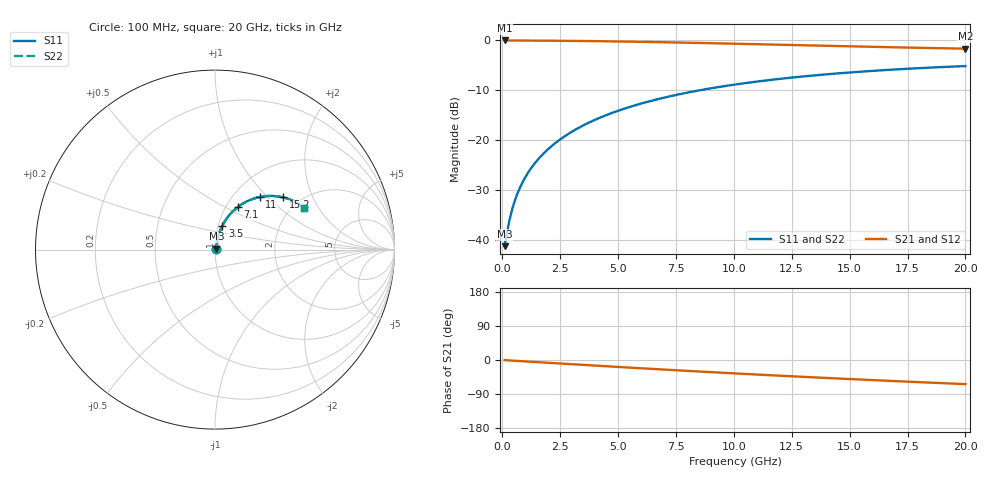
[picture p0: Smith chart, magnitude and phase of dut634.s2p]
! Touchstone file exported from HFSS 2026.1.0
!  File:  C:/ffzhzh/LocalFiles/Ansys_Project_Files/temp_train_TMRDL_634_1783009233_53980.aedt
!  Generated:  12:22:11 AM Jul  3, 2026
!  Design:  TMRDL
!  Project:  temp_train_TMRDL_634_1783009233_53980
! Variables:
!  h_bsmrdl = 2um
!  h_ox = 20um
!  h_rdl = 5um
!  h_sub = 80um
!  h_tmrdl = 2.39um
!  h_tsv = 80um
!  h_via = 3um
!  l_bsmrdl = 300um
!  l_sub = 1388.41um
!  l_tmrdl = 988.41um
!  m_sub = 200um
!  pitch = 49.51um
!  r_tsv = 6um
!  s_tmrdl = 10um
!  w_bsmrdl = 18um
!  w_sub = 500um
!  w_tmrdl = 20.23um
!  x_tsv_center1 = 998.525um
!  x_tsv_center2 = 1316.525um
!  x_tsv_center3 = 2325.165um
!  x_tsv_center4 = 2643.165um
!  x_tsv_center5 = 3651.805um
!  x_tsv_center6 = 3969.805um
# GHz S MA R 50.000000
! Terminal data exported
! Port[1] = TM_RDL1_1_T1
! Port[2] = TM_RDL1_1_T2
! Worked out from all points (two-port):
!   200 points, 100 MHz to 20 GHz, reference 50 ohm
!   highest |S21| = -0.06 dB at 100 MHz (marker M1); lowest = -1.7 dB at 20 GHz (marker M2)
!   |S21| within 3 dB of the highest: start of sweep to end of sweep
!   lowest |S11| = -41.3 dB at 100 MHz (marker M3), VSWR 1.02, Z = 50.7 + j0.444 ohm
!   |S11| at or under -10 dB: start of sweep to 8.591 GHz
!   |S22| runs from -41.3 to -5.2 dB; largest |S21 - S12| = 1.4e-14
!   S11 on the Smith chart (normalised r, x): 100 MHz: 1.01, +0.01; 3.5 GHz: 1.05, +0.28; 7.1 GHz: 1.13, +0.58; 11 GHz: 1.31, +0.90; 15.2 GHz: 1.64, +1.24; 20 GHz: 2.28, +1.52
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0.1  0.00859 30.6  0.9926 -0.4  0.9926 -0.4  0.00859 30.6
! Gamma 0 0 0 0
! Port Impedance 50 0 50 0
0.3  0.01521 58.1  0.9922 -1.2  0.9922 -1.2  0.01521 58.1
0.4  0.01904 63.5  0.9918 -1.6  0.9918 -1.6  0.01904 63.5
0.5  0.02292 67.0  0.9915 -1.9  0.9915 -1.9  0.02292 67.0
0.6  0.02681 69.3  0.9912 -2.3  0.9912 -2.3  0.02681 69.3
0.8  0.0346 72.2  0.9906 -3.0  0.9906 -3.0  0.0346 72.2
1.1  0.0463 74.4  0.9898 -4.2  0.9898 -4.2  0.0463 74.4
1.6  0.06587 75.7  0.9884 -6.0  0.9884 -6.0  0.06587 75.7
2.1  0.08548 75.7  0.9867 -7.8  0.9867 -7.8  0.08548 75.6
2.7  0.1089 74.8  0.9842 -10.0  0.9842 -10.0  0.1089 74.7
3.5  0.1397 72.9  0.9801 -13.0  0.9801 -13.0  0.1397 72.9
4.2  0.1662 70.9  0.9757 -15.5  0.9757 -15.5  0.1662 70.9
5  0.1957 68.5  0.97 -18.4  0.97 -18.4  0.1957 68.5
6.8  0.2588 62.8  0.9546 -24.7  0.9546 -24.7  0.2588 62.8
7.1  0.2688 61.9  0.9517 -25.7  0.9517 -25.7  0.2688 61.9
8.5  0.3135 57.4  0.9375 -30.4  0.9375 -30.4  0.3135 57.4
10.1  0.3601 52.4  0.9202 -35.6  0.9202 -35.6  0.3601 52.4
11  0.3843 49.7  0.9102 -38.4  0.9102 -38.4  0.3843 49.6
13.4  0.4414 42.6  0.8836 -45.7  0.8836 -45.7  0.4414 42.5
15.2  0.4777 37.5  0.8645 -50.9  0.8645 -50.9  0.4777 37.5
16.7  0.5039 33.5  0.8496 -55.0  0.8496 -55.0  0.5038 33.4
20  0.5496 25.0  0.821 -63.6  0.821 -63.6  0.5495 24.9
